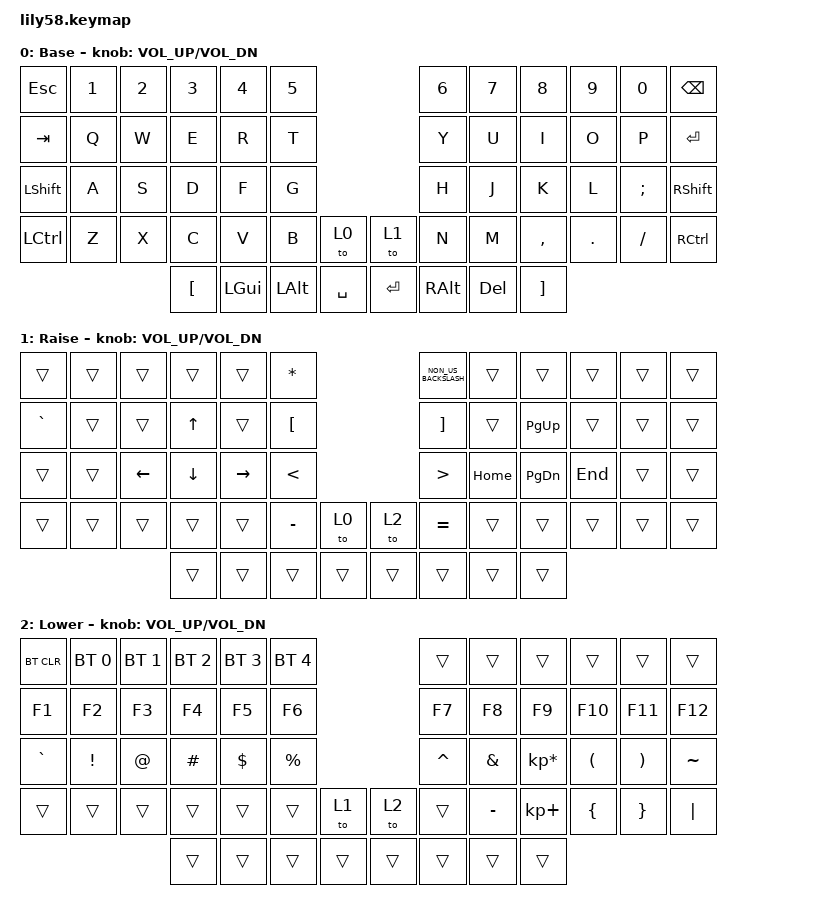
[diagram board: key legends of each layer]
/*
 * Copyright (c) 2020 The ZMK Contributors
 *
 * SPDX-License-Identifier: MIT
 */

#include <behaviors.dtsi>
#include <dt-bindings/zmk/bt.h>
#include <dt-bindings/zmk/keys.h>

/ {
    keymap {
        compatible = "zmk,keymap";

        default_layer {
            // ------------------------------------------------------------------------------------------------------------
            // |  ESC  |  1  |  2  |  3   |  4   |  5   |                   |  6   |  7    |  8    |  9   |   0   |   `   |
            // |  TAB  |  Q  |  W  |  E   |  R   |  T   |                   |  Y   |  U    |  I    |  O   |   P   |   -   |
            // |  CTRL |  A  |  S  |  D   |  F   |  G   |                   |  H   |  J    |  K    |  L   |   ;   |   '   |
            // | SHIFT |  Z  |  X  |  C   |  V   |  B   |   "["  |  |  "]"  |  N   |  M    |  ,    |  .   |   /   | SHIFT |
            //                     | ALT  | GUI  | LOWER|  SPACE |  | ENTER | RAISE| BSPC  | GUI   |

            display-name = "Base";
            bindings = <
&kp ESC         &kp N1  &kp N2  &kp N3            &kp N4    &kp N5                              &kp N6         &kp N7   &kp N8             &kp N9   &kp N0    &kp BACKSPACE
&kp TAB         &kp Q   &kp W   &kp E             &kp R     &kp T                               &kp Y          &kp U    &kp I              &kp O    &kp P     &kp ENTER
&kp LEFT_SHIFT  &kp A   &kp S   &kp D             &kp F     &kp G                               &kp H          &kp J    &kp K              &kp L    &kp SEMI  &kp RIGHT_SHIFT
&kp LCTRL       &kp Z   &kp X   &kp C             &kp V     &kp B         &to 0        &to 1    &kp N          &kp M    &kp COMMA          &kp DOT  &kp FSLH  &kp RCTRL
                                &kp LEFT_BRACKET  &kp LGUI  &kp LEFT_ALT  &kp SPACE    &kp RET  &kp RIGHT_ALT  &kp DEL  &kp RIGHT_BRACKET
            >;

            sensor-bindings = <&inc_dec_kp C_VOL_UP C_VOL_DN>;
        };

        raise_layer {
            // ------------------------------------------------------------------------------------------------------------
            // |       |     |     |      |      |      |                   |      |       |       |      |       |       |
            // |   `   |  1  |  2  |  3   |  4   |  5   |                   |  6   |   7   |   8   |  9   |   0   |       |
            // |   F1  |  F2 |  F3 |  F4  |  F5  |  F6  |                   |      |   <-  |   v   |  ^   |  ->   |       |
            // |   F7  |  F8 |  F9 |  F10 |  F11 |  F12 |        |  |       |  +   |   -   |   =   |  [   |   ]   |   \   |
            //                     |      |      |      |        |  |       |      |       |       |

            display-name = "Raise";
            bindings = <
&trans     &trans  &trans          &trans          &trans     &kp ASTERISK                        &kp NON_US_BACKSLASH  &trans    &trans         &trans   &trans  &trans
&kp GRAVE  &trans  &trans          &kp UP_ARROW    &trans     &kp LEFT_BRACKET                    &kp RIGHT_BRACKET     &trans    &kp PAGE_UP    &trans   &trans  &trans
&trans     &trans  &kp LEFT_ARROW  &kp DOWN_ARROW  &kp RIGHT  &kp LESS_THAN                       &kp GREATER_THAN      &kp HOME  &kp PAGE_DOWN  &kp END  &trans  &trans
&trans     &trans  &trans          &trans          &trans     &kp MINUS         &to 0     &to 2   &kp EQUAL             &trans    &trans         &trans   &trans  &trans
                                   &trans          &trans     &trans            &trans    &trans  &trans                &trans    &trans
            >;

            sensor-bindings = <&inc_dec_kp C_VOL_UP C_VOL_DN>;
        };

        lower_layer {
            // ------------------------------------------------------------------------------------------------------------
            // | BTCLR | BT1 | BT2 |  BT3 |  BT4 |  BT5 |                   |      |       |       |      |       |       |
            // |  F1   |  F2 |  F3 |  F4  |  F5  |  F6  |                   |  F7  |  F8   |  F9   |  F10 |  F11  |  F12  |
            // |   `   |  !  |  @  |  #   |  $   |  %   |                   |  ^   |  &    |  *    |  (   |   )   |   ~   |
            // |       |     |     |      |      |      |        |  |       |      |  _    |  +    |  {   |   }   |  "|"  |
            //                     |      |      |      |        |  |       |      |       |       |

            display-name = "Lower";
            bindings = <
&bt BT_CLR  &bt BT_SEL 0  &bt BT_SEL 1  &bt BT_SEL 2  &bt BT_SEL 3  &bt BT_SEL 4                    &trans     &trans     &trans           &trans    &trans    &trans
&kp F1      &kp F2        &kp F3        &kp F4        &kp F5        &kp F6                          &kp F7     &kp F8     &kp F9           &kp F10   &kp F11   &kp F12
&kp GRAVE   &kp EXCL      &kp AT        &kp HASH      &kp DOLLAR    &kp PRCNT                       &kp CARET  &kp AMPS   &kp KP_MULTIPLY  &kp LPAR  &kp RPAR  &kp TILDE
&trans      &trans        &trans        &trans        &trans        &trans        &to 1     &to 2   &trans     &kp MINUS  &kp KP_PLUS      &kp LBRC  &kp RBRC  &kp PIPE
                                        &trans        &trans        &trans        &trans    &trans  &trans     &trans     &trans
            >;

            sensor-bindings = <&inc_dec_kp C_VOL_UP C_VOL_DN>;
        };
    };
};
